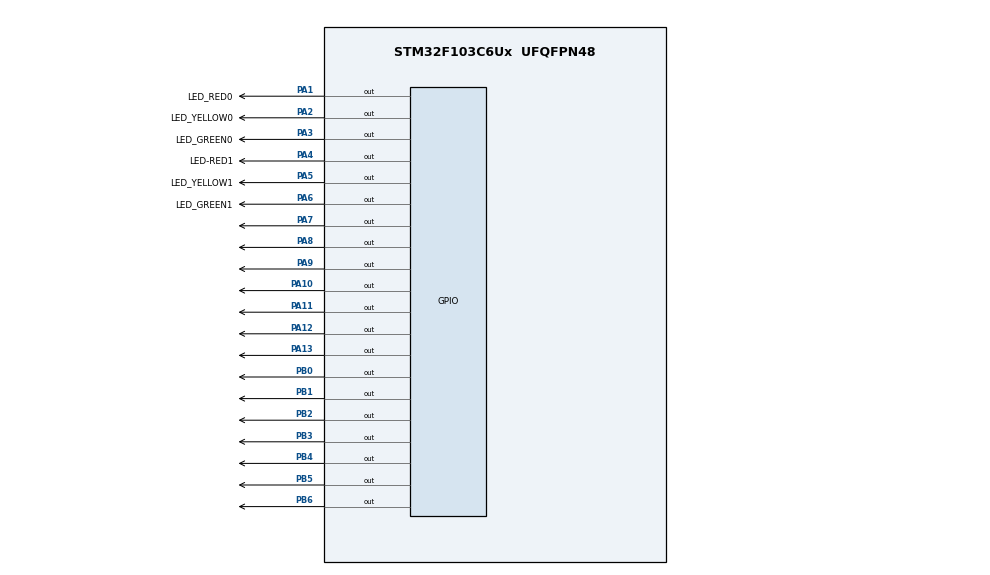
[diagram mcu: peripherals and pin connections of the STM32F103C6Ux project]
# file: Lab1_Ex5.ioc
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Mcu.Family=STM32F1
Mcu.Name=STM32F103C6Ux
Mcu.Package=UFQFPN48
NVIC.PriorityGroup=NVIC_PRIORITYGROUP_4
PA1.GPIO_Label=LED_RED0
PA1.Signal=GPIO_Output
PA10.Signal=GPIO_Output
PA11.Signal=GPIO_Output
PA12.Signal=GPIO_Output
PA13.Signal=GPIO_Output
PA2.GPIO_Label=LED_YELLOW0
PA2.Signal=GPIO_Output
PA3.GPIO_Label=LED_GREEN0
PA3.Signal=GPIO_Output
PA4.GPIO_Label=LED-RED1
PA4.Signal=GPIO_Output
PA5.GPIO_Label=LED_YELLOW1
PA5.Signal=GPIO_Output
PA6.GPIO_Label=LED_GREEN1
PA6.Signal=GPIO_Output
PA7.Signal=GPIO_Output
PA8.Signal=GPIO_Output
PA9.Signal=GPIO_Output
PB0.Signal=GPIO_Output
PB1.Signal=GPIO_Output
PB2.Signal=GPIO_Output
PB3.Signal=GPIO_Output
PB4.Signal=GPIO_Output
PB5.Signal=GPIO_Output
PB6.Signal=GPIO_Output
ProjectManager.HeapSize=0x200
ProjectManager.StackSize=0x400
ProjectManager.TargetToolchain=STM32CubeIDE
RCC.APB1Freq_Value=8000000
RCC.APB2Freq_Value=8000000
board=custom

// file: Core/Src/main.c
/* USER CODE BEGIN Header */
/**
  ******************************************************************************
  * @file           : main.c
  * @brief          : Main program body
  ******************************************************************************
  * @attention
  *
  * Copyright (c) 2022 STMicroelectronics.
  * All rights reserved.
  *
  * This software is licensed under terms that can be found in the LICENSE file
  * in the root directory of this software component.
  * If no LICENSE file comes with this software, it is provided AS-IS.
  *
  ******************************************************************************
  */
/* USER CODE END Header */
#include "main.h"

void SystemClock_Config(void);
static void MX_GPIO_Init(void);

int main(void)
{

  /* MCU Configuration--------------------------------------------------------*/

  /* Reset of all peripherals, Initializes the Flash interface and the Systick. */
  HAL_Init();

  /* Configure the system clock */
  SystemClock_Config();

  /* Initialize all configured peripherals */
  MX_GPIO_Init();

  /* Infinite loop */
  /* USER CODE BEGIN WHILE */

  int j;
  while (1)
  {for(int i=9;i>=0;i--){
	  if(i<6){
		  j=i+4;
	  } if(i>=6){
		  j=i-6;
	  }
	  display7SEGB(i);
	  display7SEGA(j);
	   if(i>=0&&i<5){
	HAL_GPIO_WritePin(LED_RED0_GPIO_Port, LED_RED0_Pin, RESET);
	HAL_GPIO_WritePin(LED_YELLOW0_GPIO_Port, LED_YELLOW0_Pin, SET);
	HAL_GPIO_WritePin(LED_GREEN0_GPIO_Port, LED_GREEN0_Pin, SET);
	   } if(i>=5&&i<7){
		   HAL_GPIO_WritePin(LED_RED0_GPIO_Port, LED_RED0_Pin, SET);
		   HAL_GPIO_WritePin(LED_YELLOW0_GPIO_Port, LED_YELLOW0_Pin, RESET);
		   HAL_GPIO_WritePin(LED_GREEN0_GPIO_Port, LED_GREEN0_Pin, SET);
	    } if(i>=7&&i<10){
	   HAL_GPIO_WritePin(LED_RED0_GPIO_Port, LED_RED0_Pin, SET);
	   HAL_GPIO_WritePin(LED_YELLOW0_GPIO_Port, LED_YELLOW0_Pin, SET);
	   HAL_GPIO_WritePin(LED_GREEN0_GPIO_Port, LED_GREEN0_Pin, RESET);
	   }if(j>=0&&j<5){
		   HAL_GPIO_WritePin(LED_RED1_GPIO_Port, LED_RED1_Pin, RESET);
		   HAL_GPIO_WritePin(LED_YELLOW1_GPIO_Port, LED_YELLOW1_Pin, SET);
		   HAL_GPIO_WritePin(LED_GREEN1_GPIO_Port, LED_GREEN1_Pin, SET);
	   } if(j>=5&&j<7){
		   HAL_GPIO_WritePin(LED_RED1_GPIO_Port, LED_RED1_Pin, SET);
		   HAL_GPIO_WritePin(LED_YELLOW1_GPIO_Port, LED_YELLOW1_Pin, RESET);
		   HAL_GPIO_WritePin(LED_GREEN1_GPIO_Port, LED_GREEN1_Pin, SET);
	   } if(j>=7&&j<10){
		   HAL_GPIO_WritePin(LED_RED1_GPIO_Port, LED_RED1_Pin, SET);
		   HAL_GPIO_WritePin(LED_YELLOW1_GPIO_Port, LED_YELLOW1_Pin, SET);
		   HAL_GPIO_WritePin(LED_GREEN1_GPIO_Port, LED_GREEN1_Pin, RESET);
	   }HAL_Delay(1000);
	   }
  }
}

    /* USER CODE END WHILE */

void display7SEGA(int num)
{ uint16_t LEG7SEG[10]={0x40,0x79,0x24,0x30,0x19,0x12,0x02,0x78,0x00,0x10};
GPIOA->ODR=LEG7SEG[num];
}
void display7SEGB(int num)
{ uint16_t LEG7SEG[10]={0x40,0x79,0x24,0x30,0x19,0x12,0x02,0x78,0x00,0x10};
GPIOB->ODR=LEG7SEG[num]; }
void SystemClock_Config(void)
{
  RCC_OscInitTypeDef RCC_OscInitStruct = {0};
  RCC_ClkInitTypeDef RCC_ClkInitStruct = {0};

  /** Initializes the RCC Oscillators according to the specified parameters
  * in the RCC_OscInitTypeDef structure.
  */
  RCC_OscInitStruct.OscillatorType = RCC_OSCILLATORTYPE_HSI;
  RCC_OscInitStruct.HSIState = RCC_HSI_ON;
  RCC_OscInitStruct.HSICalibrationValue = RCC_HSICALIBRATION_DEFAULT;
  RCC_OscInitStruct.PLL.PLLState = RCC_PLL_NONE;
  if (HAL_RCC_OscConfig(&RCC_OscInitStruct) != HAL_OK)
  {
    Error_Handler();
  }

  /** Initializes the CPU, AHB and APB buses clocks
  */
  RCC_ClkInitStruct.ClockType = RCC_CLOCKTYPE_HCLK|RCC_CLOCKTYPE_SYSCLK
                              |RCC_CLOCKTYPE_PCLK1|RCC_CLOCKTYPE_PCLK2;
  RCC_ClkInitStruct.SYSCLKSource = RCC_SYSCLKSOURCE_HSI;
  RCC_ClkInitStruct.AHBCLKDivider = RCC_SYSCLK_DIV1;
  RCC_ClkInitStruct.APB1CLKDivider = RCC_HCLK_DIV1;
  RCC_ClkInitStruct.APB2CLKDivider = RCC_HCLK_DIV1;

  if (HAL_RCC_ClockConfig(&RCC_ClkInitStruct, FLASH_LATENCY_0) != HAL_OK)
  {
    Error_Handler();
  }
}

static void MX_GPIO_Init(void)
{
  GPIO_InitTypeDef GPIO_InitStruct = {0};

  /* GPIO Ports Clock Enable */
  __HAL_RCC_GPIOA_CLK_ENABLE();
  __HAL_RCC_GPIOB_CLK_ENABLE();

  /*Configure GPIO pin Output Level */
  HAL_GPIO_WritePin(GPIOA, LED_RED0_Pin|LED_YELLOW0_Pin|LED_GREEN0_Pin|LED_RED1_Pin
                          |LED_YELLOW1_Pin|LED_GREEN1_Pin|GPIO_PIN_7|GPIO_PIN_8
                          |GPIO_PIN_9|GPIO_PIN_10|GPIO_PIN_11|GPIO_PIN_12
                          |GPIO_PIN_13, GPIO_PIN_RESET);

  /*Configure GPIO pin Output Level */
  HAL_GPIO_WritePin(GPIOB, GPIO_PIN_0|GPIO_PIN_1|GPIO_PIN_2|GPIO_PIN_3
                          |GPIO_PIN_4|GPIO_PIN_5|GPIO_PIN_6, GPIO_PIN_RESET);

  /*Configure GPIO pins : LED_RED0_Pin LED_YELLOW0_Pin LED_GREEN0_Pin LED_RED1_Pin
                           LED_YELLOW1_Pin LED_GREEN1_Pin PA7 PA8
                           PA9 PA10 PA11 PA12
                           PA13 */
  GPIO_InitStruct.Pin = LED_RED0_Pin|LED_YELLOW0_Pin|LED_GREEN0_Pin|LED_RED1_Pin
                          |LED_YELLOW1_Pin|LED_GREEN1_Pin|GPIO_PIN_7|GPIO_PIN_8
                          |GPIO_PIN_9|GPIO_PIN_10|GPIO_PIN_11|GPIO_PIN_12
                          |GPIO_PIN_13;
  GPIO_InitStruct.Mode = GPIO_MODE_OUTPUT_PP;
  GPIO_InitStruct.Pull = GPIO_NOPULL;
  GPIO_InitStruct.Speed = GPIO_SPEED_FREQ_LOW;
  HAL_GPIO_Init(GPIOA, &GPIO_InitStruct);

  /*Configure GPIO pins : PB0 PB1 PB2 PB3
                           PB4 PB5 PB6 */
  GPIO_InitStruct.Pin = GPIO_PIN_0|GPIO_PIN_1|GPIO_PIN_2|GPIO_PIN_3
                          |GPIO_PIN_4|GPIO_PIN_5|GPIO_PIN_6;
  GPIO_InitStruct.Mode = GPIO_MODE_OUTPUT_PP;
  GPIO_InitStruct.Pull = GPIO_NOPULL;
  GPIO_InitStruct.Speed = GPIO_SPEED_FREQ_LOW;
  HAL_GPIO_Init(GPIOB, &GPIO_InitStruct);

}

void Error_Handler(void)
{
  __disable_irq();
  while (1)
  {
  }
}
